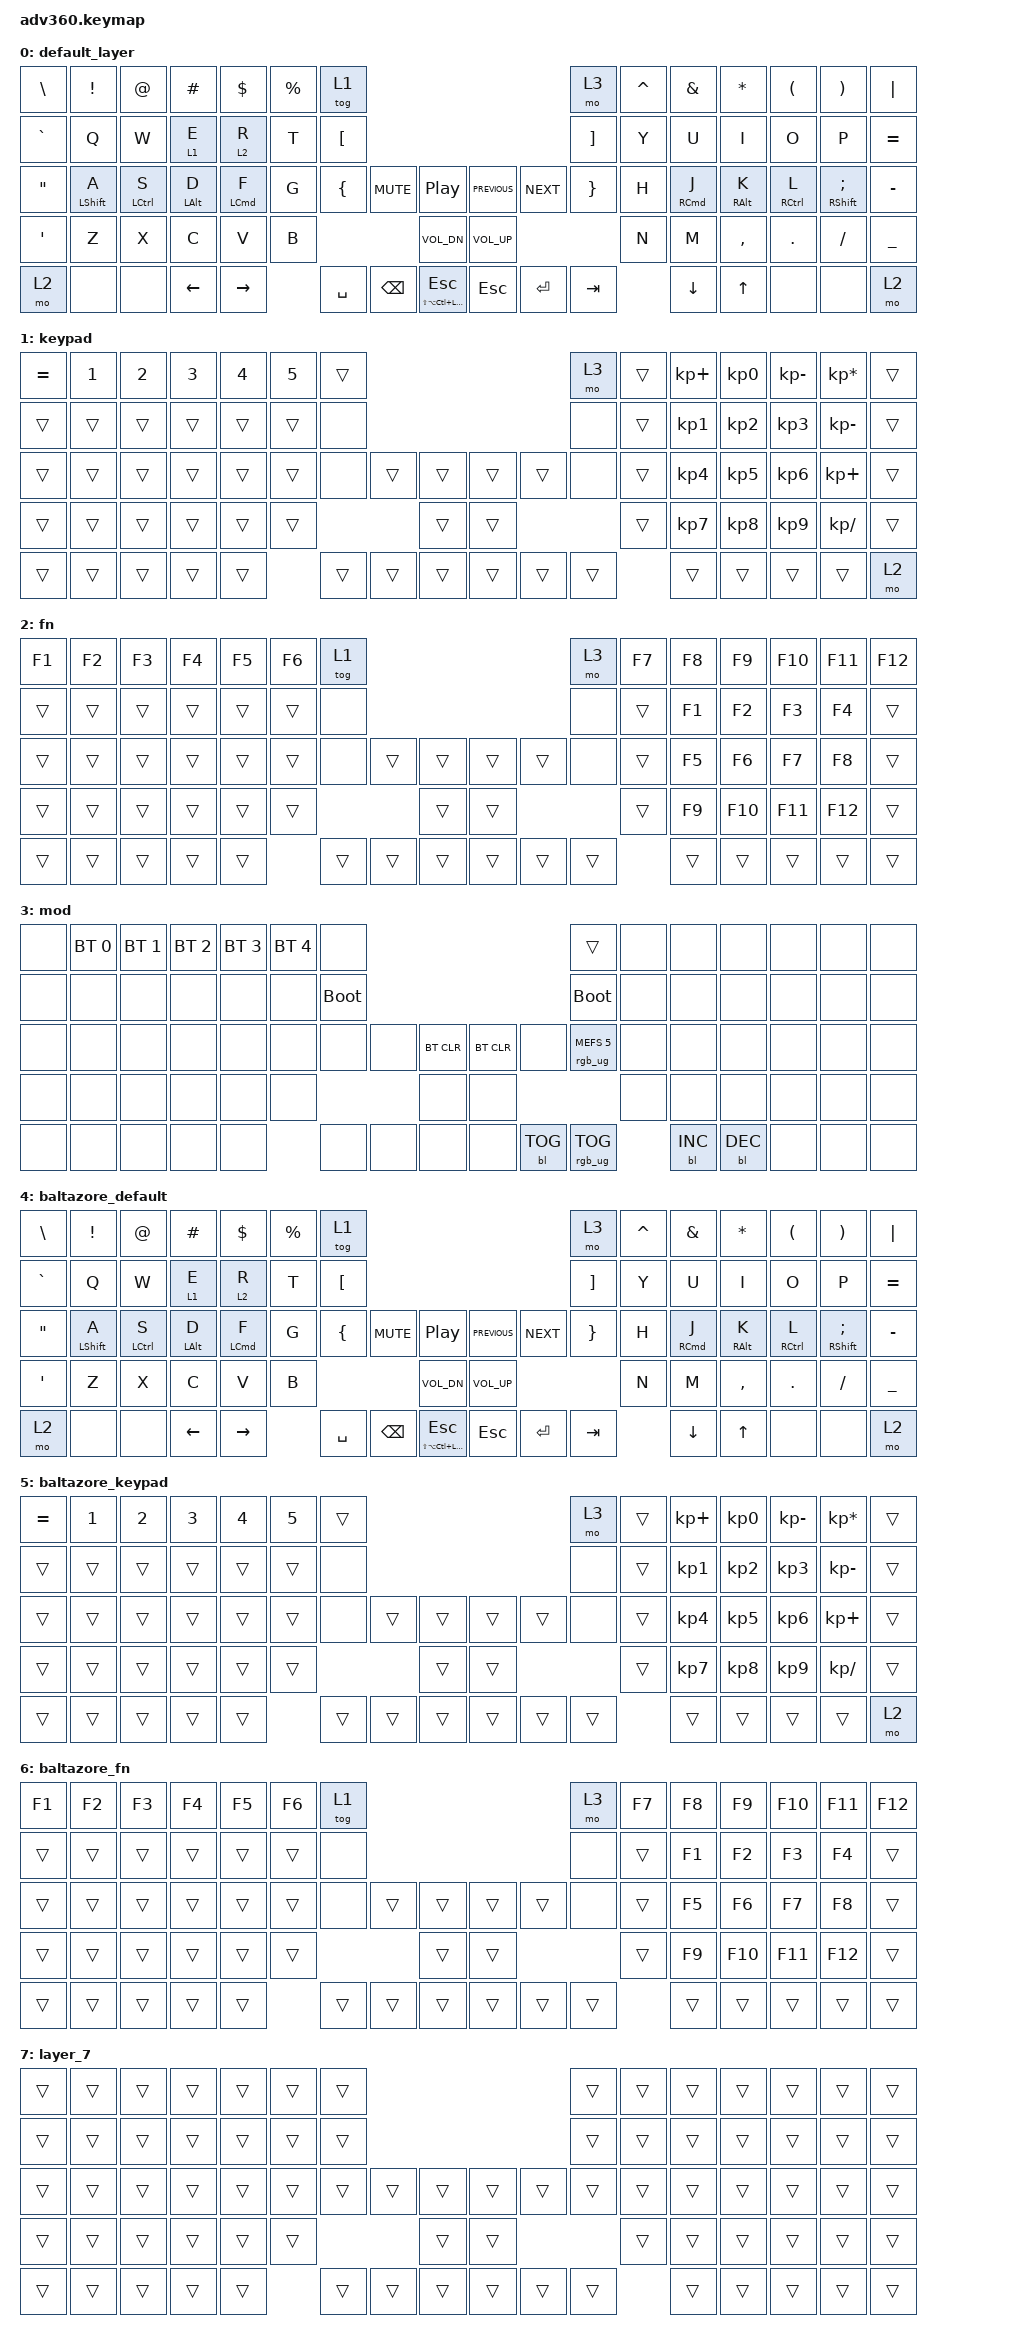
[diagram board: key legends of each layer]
#include <behaviors.dtsi>
#include <dt-bindings/zmk/backlight.h>
#include <dt-bindings/zmk/bt.h>
#include <dt-bindings/zmk/keys.h>
#include <dt-bindings/zmk/rgb.h>

/ {
    behaviors {
        #include "macros.dtsi"
      #include "version.dtsi"
      #ifndef VERSION_MACRO

        macro_ver: macro_ver {
            compatible = "zmk,behavior-macro";
            label = "macro_version";
            #binding-cells = <0>;
            bindings = <&kp RET>;
        };

        #endif

        hm: homerow_mods {
            compatible = "zmk,behavior-hold-tap";
            label = "HOMEROW_MODS";
            #binding-cells = <2>;
            tapping-term-ms = <100>;
            flavor = "hold-preferred";
            bindings = <&kp>, <&kp>;

            quick-tap-ms = <0>;
        };

        hmr: hmr {
            compatible = "zmk,behavior-hold-tap";
            label = "HMR";
            bindings = <&kp>, <&kp>;

            #binding-cells = <2>;
            tapping-term-ms = <280>;
            quick-tap-ms = <175>;
            require-prior-idle-ms = <150>;
            flavor = "balanced";
            hold-trigger-key-positions = <0 1 2 3 4 5 6 14 15 16 17 18 19 20 28 29 30 31 32 33 34 35 36 46 47 48 49 50 51 52 60 61 62 63 64 65 66 67 37 38 53 68 69 70>;
            hold-trigger-on-release;
        };

        hml: hml {
            compatible = "zmk,behavior-hold-tap";
            label = "HML";
            bindings = <&kp>, <&kp>;

            #binding-cells = <2>;
            tapping-term-ms = <280>;
            quick-tap-ms = <175>;
            require-prior-idle-ms = <150>;
            flavor = "balanced";
            hold-trigger-key-positions = <7 8 9 10 11 12 13 21 22 23 24 25 26 27 38 39 40 41 42 43 44 45 54 55 56 57 58 59 69 70 71 72 73 74 75 35 36 37 38 52 53 65 66 67 68 69>;
        };

        hmr_test: hmr_test {
            compatible = "zmk,behavior-hold-tap";
            label = "HMR Test";
            bindings = <&kp>, <&kp>;

            #binding-cells = <2>;
            tapping-term-ms = <280>;
            quick-tap-ms = <175>;
            require-prior-idle-ms = <150>;
            flavor = "balanced";
            hold-trigger-key-positions = <0 1 2 3 4 5 6 14 15 16 17 18 19 20 28 29 30 31 32 33 34 35 36 46 47 48 49 50 51 52 60 61 62 63 64 65 66 67 37 38 53 68 69 70>;
            hold-trigger-on-release;
        };
    };

    macros {
    };

    keymap {
        compatible = "zmk,keymap";

        default_layer {
            bindings = <
&kp BACKSLASH      &kp EXCLAMATION    &kp AT_SIGN          &kp POUND        &kp DOLLAR           &kp PERCENT  &tog 1                                                                                         &mo 3              &kp CARET  &kp AMPERSAND         &kp ASTERISK      &kp LEFT_PARENTHESIS  &kp RIGHT_PARENTHESIS  &kp PIPE
&kp GRAVE          &kp Q              &kp W                &lt 1 E          &lt 2 R              &kp T        &kp LEFT_BRACKET                                                                               &kp RIGHT_BRACKET  &kp Y      &kp U                 &kp I             &kp O                 &kp P                  &kp EQUAL
&kp DOUBLE_QUOTES  &hml LEFT_SHIFT A  &hml LEFT_CONTROL S  &hml LEFT_ALT D  &hml LEFT_COMMAND F  &kp G        &kp LEFT_BRACE    &kp C_MUTE     &kp C_PLAY_PAUSE                 &kp C_PREVIOUS   &kp C_NEXT  &kp RIGHT_BRACE    &kp H      &hmr RIGHT_COMMAND J  &hmr RIGHT_ALT K  &hmr RIGHT_CONTROL L  &hmr RSHIFT SEMICOLON  &kp MINUS
&kp SINGLE_QUOTE   &kp Z              &kp X                &kp C            &kp V                &kp B                                         &kp C_VOL_DN                     &kp C_VOLUME_UP                                 &kp N      &kp M                 &kp COMMA         &kp DOT               &kp FSLH               &kp UNDERSCORE
&mo 2              &none              &none                &kp LEFT         &kp RIGHT                         &kp SPACE         &kp BACKSPACE  &hm LS(LA(LC(LGUI))) ESCAPE      &kp ESC          &kp ENTER   &kp TAB                       &kp DOWN              &kp UP            &none                 &none                  &mo 2
            >;
        };

        keypad {
            bindings = <
&kp EQUAL  &kp N1  &kp N2  &kp N3  &kp N4  &kp N5  &trans                                      &mo 3   &trans  &kp KP_PLUS  &kp KP_N0  &kp KP_MINUS  &kp KP_MULTIPLY  &trans
&trans     &trans  &trans  &trans  &trans  &trans  &none                                       &none   &trans  &kp KP_N1    &kp KP_N2  &kp KP_N3     &kp KP_MINUS     &trans
&trans     &trans  &trans  &trans  &trans  &trans  &none   &trans  &trans      &trans  &trans  &none   &trans  &kp KP_N4    &kp KP_N5  &kp KP_N6     &kp KP_PLUS      &trans
&trans     &trans  &trans  &trans  &trans  &trans                  &trans      &trans                  &trans  &kp KP_N7    &kp KP_N8  &kp KP_N9     &kp KP_DIVIDE    &trans
&trans     &trans  &trans  &trans  &trans          &trans  &trans  &trans      &trans  &trans  &trans          &trans       &trans     &trans        &trans           &mo 2
            >;
        };

        fn {
            bindings = <
&kp F1  &kp F2  &kp F3  &kp F4  &kp F5  &kp F6  &tog 1                                      &mo 3   &kp F7  &kp F8  &kp F9   &kp F10  &kp F11  &kp F12
&trans  &trans  &trans  &trans  &trans  &trans  &none                                       &none   &trans  &kp F1  &kp F2   &kp F3   &kp F4   &trans
&trans  &trans  &trans  &trans  &trans  &trans  &none   &trans  &trans      &trans  &trans  &none   &trans  &kp F5  &kp F6   &kp F7   &kp F8   &trans
&trans  &trans  &trans  &trans  &trans  &trans                  &trans      &trans                  &trans  &kp F9  &kp F10  &kp F11  &kp F12  &trans
&trans  &trans  &trans  &trans  &trans          &trans  &trans  &trans      &trans  &trans  &trans          &trans  &trans   &trans   &trans   &trans
            >;
        };

        mod {
            bindings = <
&none  &bt BT_SEL 0  &bt BT_SEL 1  &bt BT_SEL 2  &bt BT_SEL 3  &bt BT_SEL 4  &none                                                       &trans                  &none  &none       &none       &none  &none  &none
&none  &none         &none         &none         &none         &none         &bootloader                                                 &bootloader             &none  &none       &none       &none  &none  &none
&none  &none         &none         &none         &none         &none         &none        &none  &bt BT_CLR      &bt BT_CLR  &none       &rgb_ug RGB_MEFS_CMD 5  &none  &none       &none       &none  &none  &none
&none  &none         &none         &none         &none         &none                             &none           &none                                           &none  &none       &none       &none  &none  &none
&none  &none         &none         &none         &none                       &none        &none  &none           &none       &bl BL_TOG  &rgb_ug RGB_TOG                &bl BL_INC  &bl BL_DEC  &none  &none  &none
            >;
        };

        baltazore_default {
            bindings = <
&kp BACKSLASH      &kp EXCLAMATION    &kp AT_SIGN          &kp POUND        &kp DOLLAR           &kp PERCENT  &tog 1                                                                                         &mo 3              &kp CARET  &kp AMPERSAND              &kp ASTERISK      &kp LEFT_PARENTHESIS  &kp RIGHT_PARENTHESIS  &kp PIPE
&kp GRAVE          &kp Q              &kp W                &lt 1 E          &lt 2 R              &kp T        &kp LEFT_BRACKET                                                                               &kp RIGHT_BRACKET  &kp Y      &kp U                      &kp I             &kp O                 &kp P                  &kp EQUAL
&kp DOUBLE_QUOTES  &hml LEFT_SHIFT A  &hml LEFT_CONTROL S  &hml LEFT_ALT D  &hml LEFT_COMMAND F  &kp G        &kp LEFT_BRACE    &kp C_MUTE     &kp C_PLAY_PAUSE                 &kp C_PREVIOUS   &kp C_NEXT  &kp RIGHT_BRACE    &kp H      &hmr_test RIGHT_COMMAND J  &hmr RIGHT_ALT K  &hmr RIGHT_CONTROL L  &hmr RSHIFT SEMICOLON  &kp MINUS
&kp SINGLE_QUOTE   &kp Z              &kp X                &kp C            &kp V                &kp B                                         &kp C_VOL_DN                     &kp C_VOLUME_UP                                 &kp N      &kp M                      &kp COMMA         &kp DOT               &kp FSLH               &kp UNDERSCORE
&mo 2              &none              &none                &kp LEFT         &kp RIGHT                         &kp SPACE         &kp BACKSPACE  &hm LS(LA(LC(LGUI))) ESCAPE      &kp ESC          &kp ENTER   &kp TAB                       &kp DOWN                   &kp UP            &none                 &none                  &mo 2
            >;
        };

        baltazore_keypad {
            bindings = <
&kp EQUAL  &kp N1  &kp N2  &kp N3  &kp N4  &kp N5  &trans                                      &mo 3   &trans  &kp KP_PLUS  &kp KP_N0  &kp KP_MINUS  &kp KP_MULTIPLY  &trans
&trans     &trans  &trans  &trans  &trans  &trans  &none                                       &none   &trans  &kp KP_N1    &kp KP_N2  &kp KP_N3     &kp KP_MINUS     &trans
&trans     &trans  &trans  &trans  &trans  &trans  &none   &trans  &trans      &trans  &trans  &none   &trans  &kp KP_N4    &kp KP_N5  &kp KP_N6     &kp KP_PLUS      &trans
&trans     &trans  &trans  &trans  &trans  &trans                  &trans      &trans                  &trans  &kp KP_N7    &kp KP_N8  &kp KP_N9     &kp KP_DIVIDE    &trans
&trans     &trans  &trans  &trans  &trans          &trans  &trans  &trans      &trans  &trans  &trans          &trans       &trans     &trans        &trans           &mo 2
            >;
        };

        baltazore_fn {
            bindings = <
&kp F1  &kp F2  &kp F3  &kp F4  &kp F5  &kp F6  &tog 1                                      &mo 3   &kp F7  &kp F8  &kp F9   &kp F10  &kp F11  &kp F12
&trans  &trans  &trans  &trans  &trans  &trans  &none                                       &none   &trans  &kp F1  &kp F2   &kp F3   &kp F4   &trans
&trans  &trans  &trans  &trans  &trans  &trans  &none   &trans  &trans      &trans  &trans  &none   &trans  &kp F5  &kp F6   &kp F7   &kp F8   &trans
&trans  &trans  &trans  &trans  &trans  &trans                  &trans      &trans                  &trans  &kp F9  &kp F10  &kp F11  &kp F12  &trans
&trans  &trans  &trans  &trans  &trans          &trans  &trans  &trans      &trans  &trans  &trans          &trans  &trans   &trans   &trans   &trans
            >;
        };

        layer_7 {
            bindings = <
&trans  &trans  &trans  &trans  &trans  &trans  &trans                                      &trans  &trans  &trans  &trans  &trans  &trans  &trans
&trans  &trans  &trans  &trans  &trans  &trans  &trans                                      &trans  &trans  &trans  &trans  &trans  &trans  &trans
&trans  &trans  &trans  &trans  &trans  &trans  &trans  &trans  &trans      &trans  &trans  &trans  &trans  &trans  &trans  &trans  &trans  &trans
&trans  &trans  &trans  &trans  &trans  &trans                  &trans      &trans                  &trans  &trans  &trans  &trans  &trans  &trans
&trans  &trans  &trans  &trans  &trans          &trans  &trans  &trans      &trans  &trans  &trans          &trans  &trans  &trans  &trans  &trans
            >;
        };
    };
};
